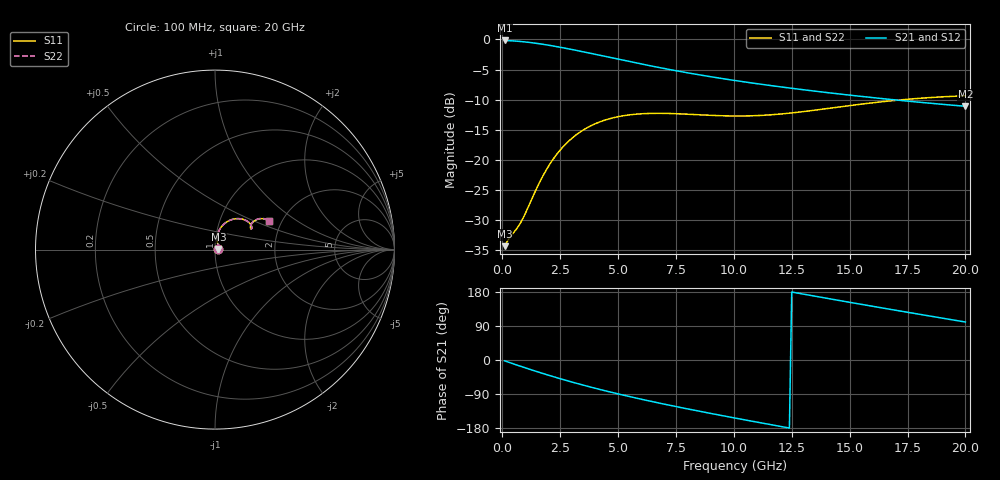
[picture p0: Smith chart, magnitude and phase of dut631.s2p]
! Touchstone file exported from HFSS 2024.1.0
!  File:  C:/UserFiles/LocalFiles/RDL_TSV_Batchsim/temp_RDL_TSV_631_1779804598.aedt
!  Generated:  10:24:45 PM May 26, 2026
!  Design:  RDL_TSV
!  Project:  temp_RDL_TSV_631_1779804598
!  Setup:  Setup1
!  Solution:  Sweep
! Variables:
!  dtsv = 8.92um
!  hbump = 3um
!  htsv = 76.72um
!  ldown = 487.1um
!  lrdl = 612.53um
!  p = 40
!  p1 = 47.66um
!  rhole = 10um
!  subl = 3911.42um
!  t = 450um
!  tdown = 2.86um
!  trdl = 4.02um
!  viad = 10um
!  wdown = 22.52um
!  wrdl = 21.93um
!  xbump = 18um
# GHz S MA R 50.000000
! Terminal data exported
! Port[1] = TM1_1_T1
! Port[2] = TM1_4_T1
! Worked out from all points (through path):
!   200 points, 100 MHz to 20 GHz, reference 50 ohm
!   highest |S21| = -0.17 dB at 100 MHz (marker M1); lowest = -11.1 dB at 20 GHz (marker M2)
!   group delay of S21, straight-line fit = 34.3 ps
!   lowest |S11| = -34.4 dB at 100 MHz (marker M3), VSWR 1.04, Z = 51.9 + j0.405 ohm
!   |S11| at or under -10 dB: start of sweep to 17.33 GHz
!   |S22| runs from -34.4 to -9.4 dB; largest |S21 - S12| = 1.1e-14
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0.1  0.01914 11.8  0.9809 -2.2  0.9809 -2.2  0.01914 11.8
! Gamma 0 0 0 0
! Port Impedance 50 0 50 0
0.3  0.02229 27.1  0.9771 -6.5  0.9771 -6.5  0.02229 27.1
0.8  0.03019 55.7  0.9616 -16.8  0.9616 -16.8  0.03019 55.7
1.3  0.04839 75.3  0.9383 -26.8  0.9383 -26.8  0.0484 75.3
1.8  0.0762 80.3  0.9087 -36.5  0.9087 -36.5  0.07621 80.3
2.2  0.1014 78.8  0.8823 -43.9  0.8823 -43.9  0.1014 78.8
2.6  0.1267 75.3  0.8543 -51.1  0.8543 -51.1  0.1267 75.2
3  0.1506 70.7  0.8255 -58.0  0.8255 -58.0  0.1505 70.7
3.5  0.177 64.7  0.7893 -66.4  0.7893 -66.4  0.1769 64.7
4.2  0.2061 56.4  0.7396 -77.5  0.7396 -77.5  0.206 56.4
5.1  0.2299 47.2  0.6795 -90.9  0.6795 -90.9  0.2297 47.1
5.9  0.2403 40.5  0.6312 -102.1  0.6312 -102.1  0.24 40.5
6.8  0.2432 35.0  0.5829 -114.0  0.5829 -114.0  0.2428 35.0
7.6  0.2411 31.8  0.5453 -124.1  0.5453 -124.1  0.2406 31.8
8.4  0.237 30.0  0.5122 -133.9  0.5122 -133.9  0.2364 30.1
10.1  0.2311 30.3  0.4542 -153.8  0.4542 -153.8  0.2305 30.5
11.7  0.2372 33.3  0.4111 -171.8  0.4111 -171.8  0.2367 33.5
13.4  0.2569 35.7  0.3738 169.5  0.3738 169.5  0.2567 35.9
15.1  0.2835 35.8  0.3428 151.2  0.3428 151.2  0.2836 36.0
16.7  0.3079 34.0  0.3181 134.3  0.3181 134.3  0.3082 34.3
18.3  0.3271 31.2  0.2971 117.7  0.2971 117.7  0.3276 31.5
20  0.3401 27.9  0.2784 100.3  0.2784 100.3  0.3407 28.1
